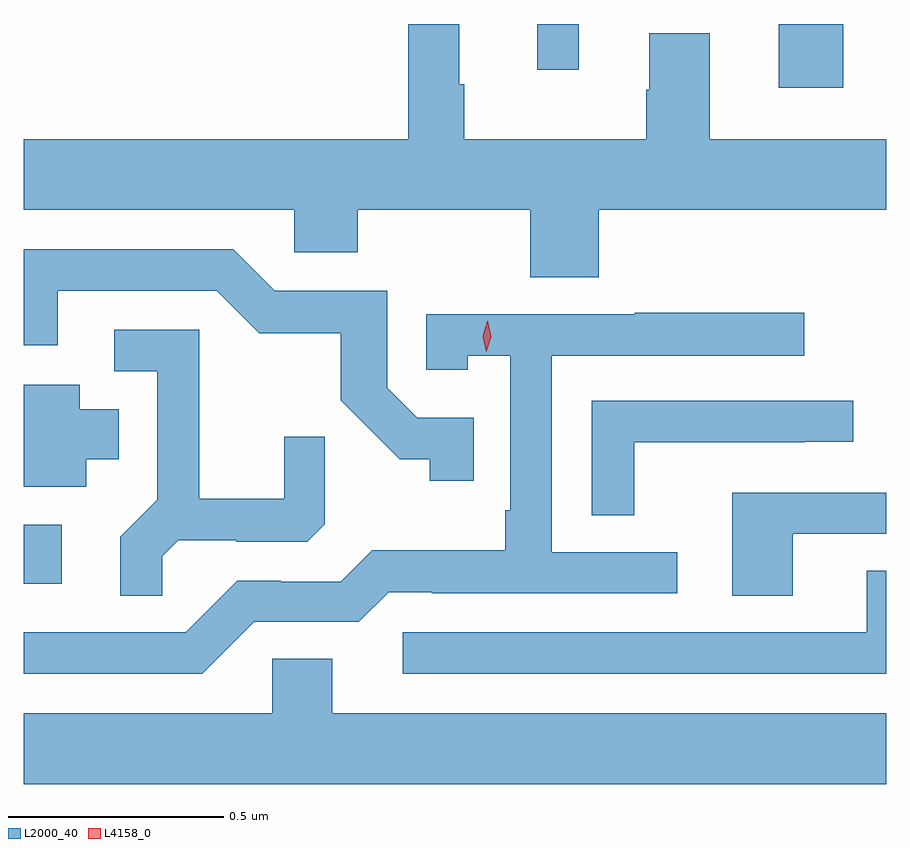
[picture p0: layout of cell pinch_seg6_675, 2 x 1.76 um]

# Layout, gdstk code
import gdstk
lib = gdstk.Library(unit=1e-6, precision=1e-09)
def R(c, l, rs):  # rectangles x0, y0, x1, y1
    for r in rs: c.add(gdstk.rectangle(r[:2], r[2:], *l))
def P(c, l, *ps):  # polygons
    for p in ps: c.add(gdstk.Polygon(p, *l))
L2000_40 = (2000, 40)
L4158_0 = (4158, 0)

pinch_seg6_675 = lib.new_cell('pinch_seg6_675')
R(pinch_seg6_675, L2000_40, [(454.866,938.477,454.954,938.613), (456.617,939.627,456.767,939.775), (456.057,939.669,456.153,939.775)])
P(pinch_seg6_675, L2000_40, [(456.2,939.344),(456.866,939.344),(456.866,939.508),(456.457,939.508),(456.457,939.754),(456.317,939.754),(456.317,939.623),(456.31,939.623),(456.31,939.508),(455.887,939.508),(455.887,939.635),(455.876,939.635),(455.876,939.775),(455.758,939.775),(455.758,939.508),(454.866,939.508),(454.866,939.344),(455.493,939.344),(455.493,939.246),(455.64,939.246),(455.64,939.344),(456.04,939.344),(456.04,939.187),(456.2,939.187)],
  [(455.909,938.862),(455.778,938.862),(455.709,938.931),(455.709,939.156),(455.448,939.156),(455.352,939.252),(454.866,939.252),(454.866,939.03),(454.945,939.03),(454.945,939.156),(455.313,939.156),(455.412,939.058),(455.601,939.058),(455.601,938.902),(455.738,938.765),(455.808,938.765),(455.808,938.715),(455.909,938.715)],
  [(455.4,938.388),(455.643,938.388),(455.712,938.457),(455.812,938.457),(455.812,938.454),(456.382,938.454),(456.382,938.55),(456.09,938.55),(456.09,939.006),(456.676,939.006),(456.676,939.105),(456.283,939.105),(456.283,939.102),(455.799,939.102),(455.799,938.973),(455.895,938.973),(455.895,939.005),(455.994,939.005),(455.994,938.647),(455.982,938.647),(455.982,938.554),(455.674,938.554),(455.601,938.481),(455.462,938.481),(455.462,938.484),(455.361,938.484),(455.241,938.364),(454.866,938.364),(454.866,938.268),(455.28,938.268)],
  [(455.187,938.54),(455.224,938.577),(455.358,938.577),(455.358,938.574),(455.523,938.574),(455.564,938.615),(455.564,938.817),(455.47,938.817),(455.47,938.674),(455.273,938.674),(455.273,939.066),(455.076,939.066),(455.076,938.97),(455.175,938.97),(455.175,938.671),(455.089,938.585),(455.089,938.449),(455.187,938.449)],
  [(455.011,938.765),(455.086,938.765),(455.086,938.881),(454.996,938.881),(454.996,938.938),(454.866,938.938),(454.866,938.702),(455.011,938.702)],
  [(456.282,938.805),(456.677,938.805),(456.677,938.806),(456.79,938.806),(456.79,938.901),(456.183,938.901),(456.183,938.635),(456.282,938.635)],
  [(456.649,938.592),(456.866,938.592),(456.866,938.688),(456.509,938.688),(456.509,938.449),(456.649,938.449)],
  [(456.866,938.507),(456.821,938.507),(456.821,938.364),(455.745,938.364),(455.745,938.268),(456.866,938.268)],
  [(456.866,938.176),(455.581,938.176),(455.581,938.303),(455.442,938.303),(455.442,938.176),(454.866,938.176),(454.866,938.012),(456.866,938.012)])
P(pinch_seg6_675, L4158_0, [(455.939,939.015),(455.939,939.015),(455.93,939.051),(455.941,939.086),(455.942,939.087),(455.942,939.086),(455.95,939.05),(455.939,939.015)])

lib.write_gds('pinch_seg6_675.gds')
